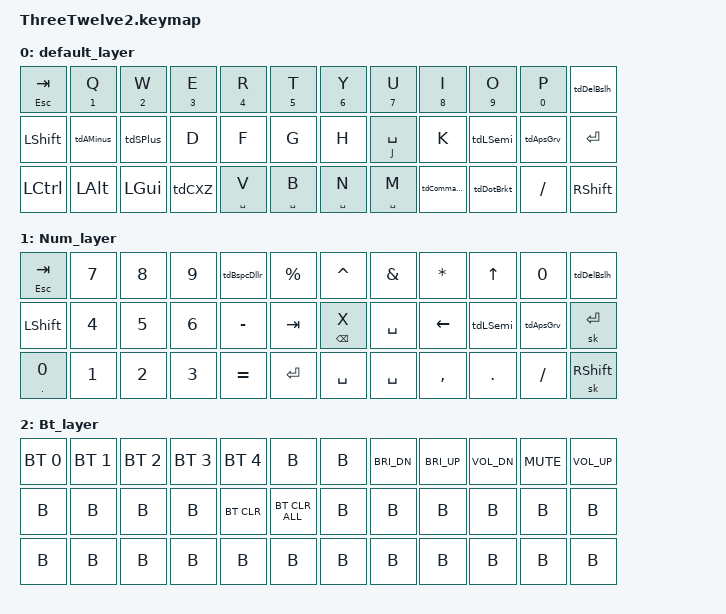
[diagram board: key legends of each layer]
/*
 * Copyright (c) 2022 The ZMK Contributors
 *
 * SPDX-License-Identifier: MIT
 */

#include <behaviors.dtsi>
#include <dt-bindings/zmk/keys.h>
#include <dt-bindings/zmk/bt.h>
#include <dt-bindings/zmk/outputs.h>


#define DEFAULT 0
#define NUM     1
#define BT      2

#define COMBO(NAME, BINDINGS, KEYPOS, LAYERS) \
  combo_##NAME { \
    timeout-ms = <60>; \
    require-prior-idle-ms = <300>; \
    bindings = <BINDINGS>; \
    key-positions = <KEYPOS>; \
    layers = <LAYERS>; \
  };

&mt {
  tapping-term-ms = <230>;
  require-prior-idle-ms = <300>;
  quick-tap-ms = <100>;
  flavor = "tap-preferred";
};

/ {
  behaviors {
    hm: homerow_mods {
      compatible = "zmk,behavior-hold-tap";
      label = "HOMEROW_MODS";
      #binding-cells = <2>;
      tapping-term-ms = <210>;
      quick-tap-ms = <100>;
      flavor = "balanced";
      bindings = <&kp>, <&kp>;
    };

    tdDelBslh: DEL_BSLASH {
      compatible = "zmk,behavior-tap-dance";
      label = "delbslh";
      #binding-cells = <0>;
      tapping-term-ms = <300>;
      bindings = <&kp BSPC>, <&kp BSPC>, <&kp BSLH>;
    };

    tdAMinus: A_MINUS {
      compatible = "zmk,behavior-tap-dance";
      label = "aminus";
      #binding-cells = <0>;
      tapping-term-ms = <190>;
      bindings = <&kp A>, <&kp MINUS>;
    };

    tdSPlus: s_PLUS {
      compatible = "zmk,behavior-tap-dance";
      label = "splus";
      #binding-cells = <0>;
      tapping-term-ms = <170>;
      bindings = <&kp S>, <&kp EQUAL>;
    };

    tdLSemi: l_SEMI {
      compatible = "zmk,behavior-tap-dance";
      label = "lsemi";
      #binding-cells = <0>;
      tapping-term-ms = <190>;
      bindings = <&kp L>, <&kp SEMI>;
    };

    tdApsGrv: APOS_GRAVE {
      compatible = "zmk,behavior-tap-dance";
      label = "aposgrave";
      #binding-cells = <0>;
      tapping-term-ms = <190>;
      bindings = <&kp APOS>, <&kp GRAVE>;
    };
    
    tdRetCaps: RET_CAPs {
      compatible = "zmk,behavior-tap-dance";
      label = "retcaps";
      #binding-cells = <0>;
      tapping-term-ms = <190>;
      bindings = <&kp RET>, <&kp CAPS>;
    };

    tdCXZ: z_x {
      compatible = "zmk,behavior-tap-dance";
      label = "cxz";
      #binding-cells = <0>;
      tapping-term-ms = <220>;
      bindings = <&kp C>, <&kp X>, <&kp Z>;
    };

    tdCommaLbkt: COMMA_LBKT{
      compatible = "zmk,behavior-tap-dance";
      label = "commalbkt";
      #binding-cells = <0>;
      tapping-term-ms = <190>;
      bindings = <&kp COMMA>, <&kp LBKT>;
    };

    tdDotBrkt: DOT_RBKT {
      compatible = "zmk,behavior-tap-dance";
      label = "dotbrkt";
      #binding-cells = <0>;
      tapping-term-ms = <190>;
      bindings = <&mt LEFT DOT>, <&kp RBKT>;
     };

    tdBspcDllr: BSPC_DLLR {
      compatible = "zmk,behavior-tap-dance";
      label = "bspc_dllr";
      #binding-cells = <0>;
      tapping-term-ms = <210>;
      bindings = <&kp BSPC>, <&kp DLLR>;
    };

 };
combos {
        compatible = "zmk,combos";
                      
      COMBO(fnOne, &kp F1, 1 11, DEFAULT NUM BT)
      COMBO(fTwo, &kp F2, 2 11, DEFAULT NUM BT)
      COMBO(fThree, &kp F3, 3 11, DEFAULT NUM BT)
      COMBO(fFour, &kp F4, 4 11, DEFAULT NUM BT)
      COMBO(fFive, &kp F5, 5 11, DEFAULT NUM BT)
      COMBO(fSix, &kp F6, 6 11, DEFAULT NUM BT)
      COMBO(fSeven, &kp F7, 7 0, DEFAULT NUM BT)
      COMBO(fEight, &kp F8, 8 0, DEFAULT NUM BT)
      COMBO(fNine, &kp F9, 9 0, DEFAULT NUM BT)
      COMBO(fTen, &kp F10, 10 0, DEFAULT NUM BT)
      COMBO(fEleven, &kp F11, 11 0, DEFAULT NUM BT) 

      COMBO(del, &kp DEL, 22 23, DEFAULT NUM BT)


      COMBO(caps, &kp CAPS, 12 23, DEFAULT NUM BT)
      COMBO(capsword, &caps_word, 12 22 23, DEFAULT NUM BT)

      COMBO(J, &kp J, 16 19, DEFAULT)
      COMBO(X, &kp X, 19 27, DEFAULT)
      COMBO(Z, &kp Z, 11 27, DEFAULT)

      COMBO(briDn, &kp C_BRI_DN, 0 1, DEFAULT NUM BT)
      COMBO(briUP, &kp C_BRI_UP, 1 2, DEFAULT NUM BT)
      COMBO(mute, &kp C_MUTE, 7 8 9, DEFAULT NUM BT)
      COMBO(volup, &kp C_VOL_UP,9 10, DEFAULT NUM BT)
      COMBO(voldn, &kp C_VOL_DN, 7 8, DEFAULT NUM BT)

      
      COMBO(dfltLyr, &to 0, 8 32, DEFAULT NUM BT)
      COMBO(numLyr, &to 1, 9 33, DEFAULT NUM BT)
      COMBO(btLyr, &to 2, 10 34, DEFAULT NUM BT)
      COMBO(btOut, &out OUT_TOG, 17 18, DEFAULT NUM BT)

      COMBO(left, &kp LEFT, 19 20, DEFAULT NUM BT)
      COMBO(up, &kp UP, 8 9, DEFAULT NUM BT)
      COMBO(down, &kp DOWN, 32 33, DEFAULT NUM BT)
      COMBO(right, &kp RIGHT, 20 21, DEFAULT NUM BT)

      COMBO(pageup, &kp PG_UP, 8 9 16, DEFAULT NUM BT)
      COMBO(pageDp, &kp PG_DN, 16 32 33, DEFAULT NUM BT)
      COMBO(home, &kp HOME, 18 19, DEFAULT NUM BT)
      COMBO(end, &kp END, 21 22, DEFAULT NUM BT)
    };


keymap {
    compatible = "zmk,keymap";	

  default_layer {
    bindings = <

&mt ESC TAB   &mt N1 Q     &mt N2 W   &mt N3 E  &mt N4 R    &mt N5 T    &mt N6 Y    &mt N7 U    &mt N8 I    &mt N9 O   &mt N0 P   &tdDelBslh
&kp LSHFT   &tdAMinus    &tdSPlus     &kp D     &kp F      &kp G     &kp H    &mt J SPACE   &kp K   &tdLSemi     &tdApsGrv  &kp RET
&kp LCTRL   &kp LALT     &kp LGUI    &tdCXZ   &mt SPACE V   &mt SPACE B   &mt SPACE N  &mt SPACE M   &tdCommaLbkt  &tdDotBrkt  &kp FSLH   &kp RSHFT 

            >;
        };	

  Num_layer {
    bindings = <

&mt ESC TAB      &kp N7    &kp N8    &kp N9   &tdBspcDllr  &kp PRCNT   &kp CARET    &kp AMPS     &kp STAR     &kp UP      &kp N0     &tdDelBslh
&kp LSHFT   &kp N4    &kp N5    &kp N6   &kp MINUS    &kp TAB     &mt BSPC X   &kp SPACE    &kp LEFT     &tdLSemi    &tdApsGrv  &sk RET	
&mt DOT N0  &kp N1    &kp N2 	  &kp N3   &kp EQUAL    &kp RET     &kp SPACE    &kp SPACE    &kp COMMA    &kp DOT     &kp FSLH   &sk RSHFT 
    >;
  };


  Bt_layer {
    bindings = <

&bt BT_SEL 0   &bt BT_SEL 1  &bt BT_SEL 2  &bt BT_SEL 3  &bt BT_SEL 4 &kp B &kp B &kp C_BRI_DN  &kp C_BRI_UP  &kp C_VOL_DN  &kp C_MUTE &kp C_VOL_UP 
&kp B &kp B &kp B &kp B &bt BT_CLR &bt BT_CLR_ALL &kp B &kp B &kp B &kp B &kp B &kp B 
&kp B &kp B &kp B &kp B &kp B &kp B &kp B &kp B &kp B &kp B &kp B &kp B 
    >;
  };

 };
};
